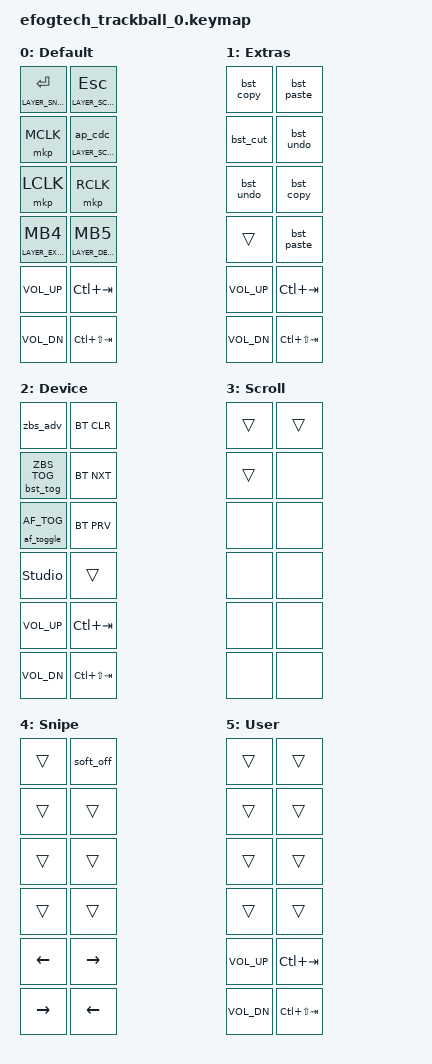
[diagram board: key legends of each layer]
#include <behaviors.dtsi>
#include <dt-bindings/zmk/bt.h>
#include <dt-bindings/zmk/keys.h>
#include <dt-bindings/zmk/pointing.h>
#include <dt-bindings/zmk/outputs.h>
#include <dt-bindings/zmk/adaptive_feedback.h>
#include <dt-bindings/zmk/bistable_behavior.h>
#include <dt-bindings/zmk/p2sm.h>

/*
 * Endgame Trackball keymap
 *
 * Archprime policy:
 * - Keep runtime behavior predictable.
 * - Prefer fixed config values over hidden live adjustments.
 * - Leave tuning knobs documented near the top of the file.
 * - Disable unused controls with &none instead of deleting useful structure.
 * - Make permanent changes here, commit them, rebuild, and flash intentionally.
 */

#ifndef LAYER_DEFAULT
#define LAYER_DEFAULT      0
#define LAYER_EXTRAS       1
#define LAYER_DEVICE       2
#define LAYER_SCROLL       3
#define LAYER_SNIPE        4
#define LAYER_USER         5
#endif

/*
 * Fixed tuning knobs
 *
 * These are compile-time settings. They are not changed from the trackball
 * after the runtime adjustment bindings are disabled below.
 *
 * Ratio format:
 *   effective speed = MULTIPLIER / DIVISOR
 *
 * Higher multiplier = faster.
 * Higher divisor    = slower.
 */

/* Twist-to-scroll speed used during normal pointer mode. */
#define TWIST_MULTIPLIER   1
#define TWIST_DIVISOR      5

/* Ball-to-scroll speed used while holding the Scroll layer. */
#define SCROLL_MULTIPLIER  1
#define SCROLL_DIVISOR     3

/* Reduced pointer speed used while holding the Snipe layer. */
#define SNIPE_MULTIPLIER   1
#define SNIPE_DIVISOR      4

/*
 * Other fixed pointer values:
 * - Base sensor CPI is currently set in:
 *     boards/arm/efogtech_trackball_0/pointer.dtsi
 *
 * - Report-rate limiting / polling behavior is also handled outside this
 *   keymap by the report-rate-limit input processor.
 *
 * This keymap intentionally disables live sensitivity and report-rate buttons.
 */

/ {
	keymap {
		compatible = "zmk,keymap";

		default_layer {
			display-name = "Default";
			DECLARE_ENCODERS;
			bindings = <
				/* Buttons */
				&ltmkp LAYER_SNIPE ENTER  &ltmkp LAYER_SCROLL ESC
				&mkp MCLK                 &cdch LAYER_SCROLL 0
				&mkp LCLK                 &mkp RCLK
				&ltm LAYER_EXTRAS MB4     &ltm LAYER_DEVICE MB5

				/* Rotary encoders */
				&kp C_VOL_UP              &kp LC(TAB)
				&kp C_VOL_DN              &kp LC(LS(TAB))
			>;
		};

		layer1 {
			display-name = "Extras";
			DECLARE_ENCODERS;
			bindings = <
				/* Buttons */
				&bst_copy      &bst_paste
				&bst_cut       &bst_undo
				&bst_undo      &bst_copy
				&trans         &bst_paste

				/* Rotary encoders */
				&kp C_VOL_UP   &kp LC(TAB)
				&kp C_VOL_DN   &kp LC(LS(TAB))
			>;
		};

		layer2 {
			display-name = "Device";
			DECLARE_ENCODERS;
			bindings = <
				/*
				 * Device controls
				 *
				 * Keep these separate from pointer tuning.
				 * This layer is for Bluetooth, ZMK Studio, adaptive feedback,
				 * and other device-level controls.
				 */

				/* Buttons */
				&zbs_adv           &bt BT_CLR
				&bst_tog ZBS_TOG   &bt BT_NXT
				&af_toggle AF_TOG  &bt BT_PRV
				&studio_unlock     &trans

				/* Rotary encoders */
				&kp C_VOL_UP       &kp LC(TAB)
				&kp C_VOL_DN       &kp LC(LS(TAB))
			>;
		};

		layer3 {
			display-name = "Scroll";
			DECLARE_ENCODERS;
			bindings = <
				/*
				 * Scroll layer
				 *
				 * This layer is for temporary scroll behavior only.
				 *
				 * Runtime tuning has been intentionally disabled:
				 * - No pointer sensitivity increase/decrease.
				 * - No scroll sensitivity increase/decrease.
				 * - No report-rate / polling-rate cycling.
				 *
				 * Use &none for disabled controls so they do not fall through
				 * to the default layer. Use &trans only where fall-through is
				 * intentional.
				 */

				/* Buttons */
				&trans              &trans
				&trans              &none
				&none               &none
				&none               &none

				/* Rotary encoders */
				&none               &none
				&none               &none

				/*
				 * Disabled runtime tuning bindings, kept here as reference only:
				 *
				 *   &scrlsens P2SM_INC 1
				 *   &scrlsens P2SM_DEC 1
				 *   &sens P2SM_DEC 1
				 *   &sens P2SM_INC 1
				 *   &rrl 1
				 */
			>;
		};

		layer4 {
			display-name = "Snipe";
			DECLARE_ENCODERS;
			bindings = <
				/*
				 * Snipe layer
				 *
				 * Temporary reduced pointer speed.
				 * Permanent speed is controlled by SNIPE_MULTIPLIER /
				 * SNIPE_DIVISOR near the top of this file.
				 */

				/* Buttons */
				&trans           &soft_off
				&trans           &trans
				&trans           &trans
				&trans           &trans

				/* Rotary encoders */
				&kp LEFT         &kp RIGHT
				&kp RIGHT        &kp LEFT
			>;
		};

		layer5 {
			display-name = "User";
			DECLARE_ENCODERS;
			bindings = <
				/*
				 * User layer
				 *
				 * Reserved for future custom controls.
				 */

				/* Buttons */
				&trans        &trans
				&trans        &trans
				&trans        &trans
				&trans        &trans

				/* Rotary encoders */
				&kp C_VOL_UP  &kp LC(TAB)
				&kp C_VOL_DN  &kp LC(LS(TAB))
			>;
		};
	};

	combos {
		compatible = "zmk,combos";

		combo_rofi {
			timeout-ms = <75>;
			key-positions = <6 7>;
			layers = <0>;
			bindings = <&kp LG(SPACE)>;
		};
	};

	behaviors {
		cdch: click-double-click-hold {
			compatible = "zmk,behavior-hold-tap";
			display-name = "Copy/paste/layer (click/double-click/hold)";
			#binding-cells = <2>;
			flavor = "tap-preferred";
			tapping-term-ms = <325>;
		  bindings = <&mo>, <&ap_cdc>;
		};

		ap_cdc: click-double-click {
			compatible = "zmk,behavior-tap-dance";
			display-name = "Super+C / Super+V (click/double-click)";
			#binding-cells = <0>;
			tapping-term-ms = <300>;
			bindings = <&kp LG(C)>, <&kp LG(V)>;
		};
	};

	trackball {
		/*
		 * Normal pointer mode using the current upstream processor chain.
		 */
		input-processors = <&zip_bistable_twist_scaler>,
						   <&zip_pointer_accel>, <&zip_scroll_accel>,
						   <&zip_rotate_pointer>,
						   <&esb_ip>, <&zip_ble_report_rate_limit>;

		scroll {
			/*
			 * Scroll layer ball movement
			 *
			 * While LAYER_SCROLL is active, ball movement is converted to
			 * scrolling and scaled by SCROLL_MULTIPLIER / SCROLL_DIVISOR.
			 */
			layers = <LAYER_SCROLL>;
			input-processors = <&zip_bistable_scroll_xy_scaler>, <&zip_axis_clamper>,
							   <&zip_xy_to_scroll_mapper>, <&zip_scroll_transform INPUT_TRANSFORM_Y_INVERT>,
							   <&zip_dragscroll_accel>, <&zip_rotate_scroll>,
							   <&esb_ip>, <&zip_ble_report_rate_limit>;
		};

		snipe {
			/*
			 * Snipe layer pointer movement
			 *
			 * While LAYER_SNIPE is active, ball movement remains pointer
			 * movement but is scaled by SNIPE_MULTIPLIER / SNIPE_DIVISOR.
			 */
			layers = <LAYER_SNIPE>;
			input-processors = <&zip_bistable_snipe_scaler>, <&zip_rotate_pointer>,
							   <&esb_ip>, <&zip_ble_report_rate_limit>;
		};
	};
};
